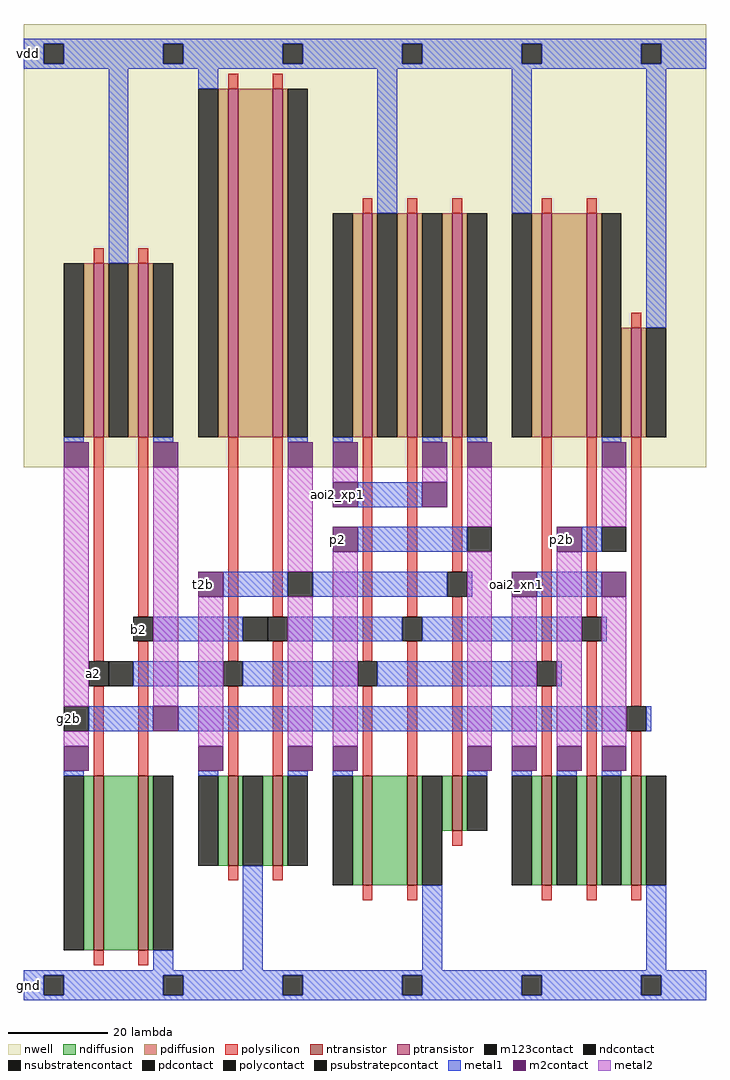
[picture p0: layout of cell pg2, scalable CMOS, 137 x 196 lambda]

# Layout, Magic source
magic
tech scmos
<< nwell >>
rect 0 107 137 196
<< ntransistor >>
rect 14 10 16 45
rect 23 10 25 45
rect 41 27 43 45
rect 50 27 52 45
rect 68 23 70 45
rect 77 23 79 45
rect 86 34 88 45
rect 104 23 106 45
rect 113 23 115 45
rect 122 23 124 45
<< ptransistor >>
rect 14 113 16 148
rect 23 113 25 148
rect 41 113 43 183
rect 50 113 52 183
rect 68 113 70 158
rect 77 113 79 158
rect 86 113 88 158
rect 104 113 106 158
rect 113 113 115 158
rect 122 113 124 135
<< ndiffusion >>
rect 12 10 14 45
rect 16 10 23 45
rect 25 10 26 45
rect 39 27 41 45
rect 43 27 44 45
rect 48 27 50 45
rect 52 27 53 45
rect 66 23 68 45
rect 70 23 77 45
rect 79 23 80 45
rect 84 34 86 45
rect 88 34 89 45
rect 102 23 104 45
rect 106 23 107 45
rect 111 23 113 45
rect 115 23 116 45
rect 120 23 122 45
rect 124 23 125 45
<< pdiffusion >>
rect 12 113 14 148
rect 16 113 17 148
rect 21 113 23 148
rect 25 113 26 148
rect 39 113 41 183
rect 43 113 50 183
rect 52 113 53 183
rect 66 113 68 158
rect 70 113 71 158
rect 75 113 77 158
rect 79 113 80 158
rect 84 113 86 158
rect 88 113 89 158
rect 102 113 104 158
rect 106 113 113 158
rect 115 113 116 158
rect 120 113 122 135
rect 124 113 125 135
<< ndcontact >>
rect 8 10 12 45
rect 26 10 30 45
rect 35 27 39 45
rect 44 27 48 45
rect 53 27 57 45
rect 62 23 66 45
rect 80 23 84 45
rect 89 34 93 45
rect 98 23 102 45
rect 107 23 111 45
rect 116 23 120 45
rect 125 23 129 45
<< pdcontact >>
rect 8 113 12 148
rect 17 113 21 148
rect 26 113 30 148
rect 35 113 39 183
rect 53 113 57 183
rect 62 113 66 158
rect 71 113 75 158
rect 80 113 84 158
rect 89 113 93 158
rect 98 113 102 158
rect 116 113 120 158
rect 125 113 129 135
<< psubstratepcontact >>
rect 4 1 8 5
rect 28 1 32 5
rect 52 1 56 5
rect 76 1 80 5
rect 100 1 104 5
rect 124 1 128 5
<< nsubstratencontact >>
rect 4 188 8 192
rect 28 188 32 192
rect 52 188 56 192
rect 76 188 80 192
rect 100 188 104 192
rect 124 188 128 192
<< polysilicon >>
rect 41 183 43 186
rect 50 183 52 186
rect 14 148 16 151
rect 23 148 25 151
rect 68 158 70 161
rect 77 158 79 161
rect 86 158 88 161
rect 104 158 106 161
rect 113 158 115 161
rect 122 135 124 138
rect 14 68 16 113
rect 23 77 25 113
rect 14 45 16 63
rect 23 45 25 72
rect 41 68 43 113
rect 50 77 52 113
rect 41 45 43 63
rect 50 45 52 72
rect 68 68 70 113
rect 77 77 79 113
rect 86 86 88 113
rect 68 45 70 63
rect 77 45 79 72
rect 86 45 88 81
rect 104 68 106 113
rect 113 77 115 113
rect 104 45 106 63
rect 113 45 115 72
rect 122 59 124 113
rect 122 45 124 54
rect 41 24 43 27
rect 50 24 52 27
rect 86 31 88 34
rect 68 20 70 23
rect 77 20 79 23
rect 104 20 106 23
rect 113 20 115 23
rect 122 20 124 23
rect 14 7 16 10
rect 23 7 25 10
<< polycontact >>
rect 22 72 26 77
rect 13 63 17 68
rect 49 72 53 77
rect 40 63 44 68
rect 85 81 89 86
rect 76 72 80 77
rect 67 63 71 68
rect 112 72 116 77
rect 103 63 107 68
rect 121 54 125 59
<< metal1 >>
rect 0 192 137 193
rect 0 188 4 192
rect 8 188 28 192
rect 32 188 52 192
rect 56 188 76 192
rect 80 188 100 192
rect 104 188 124 192
rect 128 188 137 192
rect 0 187 137 188
rect 17 148 21 187
rect 35 183 39 187
rect 71 158 75 187
rect 98 158 102 187
rect 8 112 12 113
rect 26 112 30 113
rect 53 112 57 113
rect 62 112 66 113
rect 80 112 84 113
rect 125 135 129 187
rect 89 112 93 113
rect 116 112 120 113
rect 67 99 80 104
rect 67 90 89 95
rect 112 90 116 95
rect 40 81 53 86
rect 58 81 85 86
rect 89 81 90 86
rect 103 81 116 86
rect 26 72 44 77
rect 53 72 76 77
rect 80 72 112 77
rect 116 72 117 77
rect 22 63 40 68
rect 44 63 67 68
rect 71 63 103 68
rect 107 63 108 68
rect 13 54 26 59
rect 31 54 121 59
rect 125 54 126 59
rect 8 45 12 46
rect 35 45 39 46
rect 53 45 57 46
rect 62 45 66 46
rect 89 45 93 46
rect 26 6 30 10
rect 44 6 48 27
rect 98 45 102 46
rect 107 45 111 46
rect 116 45 120 46
rect 80 6 84 23
rect 125 6 129 23
rect 0 5 137 6
rect 0 1 4 5
rect 8 1 28 5
rect 32 1 52 5
rect 56 1 76 5
rect 80 1 100 5
rect 104 1 124 5
rect 128 1 137 5
rect 0 0 137 1
<< m2contact >>
rect 8 107 13 112
rect 26 107 31 112
rect 53 107 58 112
rect 62 107 67 112
rect 80 107 85 112
rect 89 107 94 112
rect 116 107 121 112
rect 62 99 67 104
rect 80 99 85 104
rect 62 90 67 95
rect 107 90 112 95
rect 35 81 40 86
rect 98 81 103 86
rect 116 81 121 86
rect 26 54 31 59
rect 8 46 13 51
rect 35 46 40 51
rect 53 46 58 51
rect 62 46 67 51
rect 89 46 94 51
rect 98 46 103 51
rect 107 46 112 51
rect 116 46 121 51
<< metal2 >>
rect 8 59 13 107
rect 26 59 31 107
rect 53 86 58 107
rect 62 104 67 107
rect 80 104 85 107
rect 89 95 94 107
rect 116 95 121 107
rect 8 51 13 54
rect 35 51 40 81
rect 53 51 58 81
rect 62 51 67 90
rect 89 51 94 90
rect 98 51 103 81
rect 107 51 112 90
rect 116 51 121 81
<< m123contact >>
rect 17 63 22 68
rect 8 54 13 59
rect 53 81 58 86
rect 44 72 49 77
rect 89 90 94 95
rect 116 90 121 95
<< labels >>
rlabel metal1 13 63 15 68 0 a2
port 1 nsew
rlabel metal1 22 72 24 77 0 b2
port 2 nsew
rlabel metal1 8 54 10 59 0 g2b
port 3 nsew
rlabel m2contact 62 90 64 95 0 p2
port 4 nsew
rlabel m2contact 107 90 109 95 0 p2b
port 5 nsew
rlabel m2contact 35 81 37 86 0 t2b
port 6 nsew
rlabel m2contact 62 99 64 104 0 aoi2_xp1
rlabel m2contact 98 81 100 86 0 oai2_xn1
rlabel metal1 0 187 2 193 0 vdd
port 7 nsew
rlabel metal1 0 0 2 6 0 gnd
port 8 nsew
<< end >>
